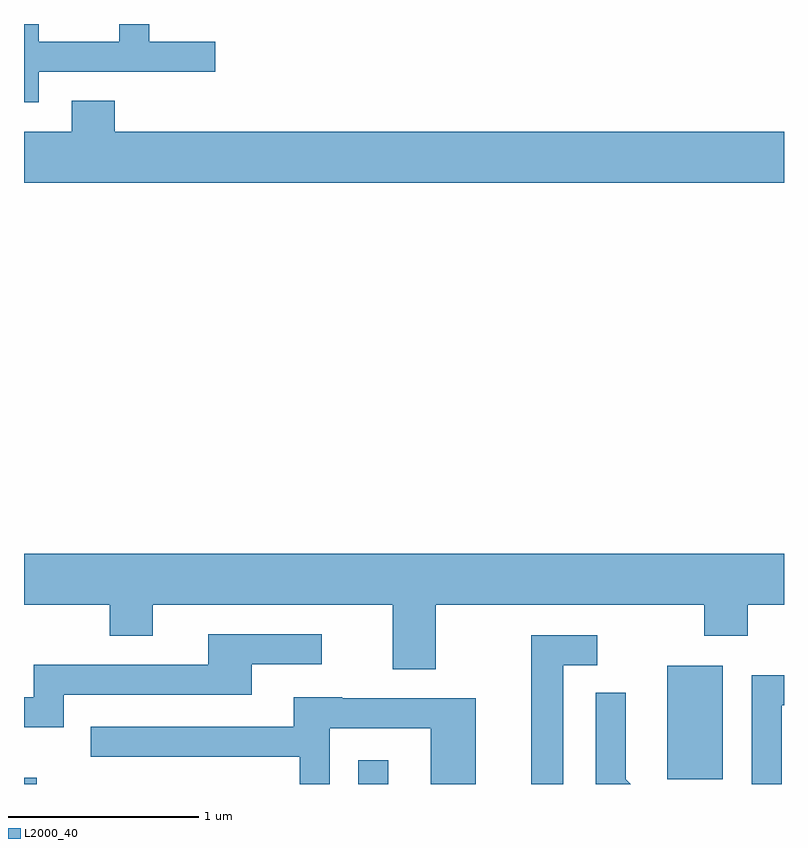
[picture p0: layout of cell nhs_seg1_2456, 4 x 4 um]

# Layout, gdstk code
import gdstk
lib = gdstk.Library(unit=1e-6, precision=1e-09)
def R(c, l, rs):  # rectangles x0, y0, x1, y1
    for r in rs: c.add(gdstk.rectangle(r[:2], r[2:], *l))
def P(c, l, *ps):  # polygons
    for p in ps: c.add(gdstk.Polygon(p, *l))
L2000_40 = (2000, 40)

nhs_seg1_2456 = lib.new_cell('nhs_seg1_2456')
R(nhs_seg1_2456, L2000_40, [(259.611,929.712,259.679,929.744), (261.371,929.712,261.529,929.838), (262.996,929.736,263.289,930.334)])
P(nhs_seg1_2456, L2000_40, [(259.689,933.461),(260.618,933.461),(260.618,933.619),(260.269,933.619),(260.269,933.712),(260.111,933.712),(260.111,933.619),(259.689,933.619),(259.689,933.712),(259.611,933.712),(259.611,933.301),(259.689,933.301)],
  [(263.611,933.144),(260.089,933.144),(260.089,933.309),(259.861,933.309),(259.861,933.144),(259.611,933.144),(259.611,932.876),(263.611,932.876)],
  [(261.779,930.656),(263.191,930.656),(263.191,930.491),(263.419,930.491),(263.419,930.656),(263.611,930.656),(263.611,930.924),(259.611,930.924),(259.611,930.656),(260.061,930.656),(260.061,930.491),(260.289,930.491),(260.289,930.656),(261.551,930.656),(261.551,930.316),(261.779,930.316)],
  [(259.819,930.181),(260.809,930.181),(260.809,930.341),(261.178,930.341),(261.178,930.499),(260.581,930.499),(260.581,930.339),(259.661,930.339),(259.661,930.169),(259.611,930.169),(259.611,930.011),(259.819,930.011)],
  [(262.449,930.336),(262.628,930.336),(262.628,930.494),(262.281,930.494),(262.281,929.712),(262.449,929.712)],
  [(263.599,930.126),(263.611,930.126),(263.611,930.284),(263.441,930.284),(263.441,929.712),(263.599,929.712)],
  [(262.779,929.737),(262.779,930.193),(262.621,930.193),(262.621,929.712),(262.804,929.712)],
  [(261.219,930.006),(261.751,930.006),(261.751,929.712),(261.989,929.712),(261.989,930.164),(261.285,930.164),(261.285,930.169),(261.031,930.169),(261.031,930.014),(259.962,930.014),(259.962,929.856),(261.061,929.856),(261.061,929.712),(261.219,929.712)])

lib.write_gds('nhs_seg1_2456.gds')
